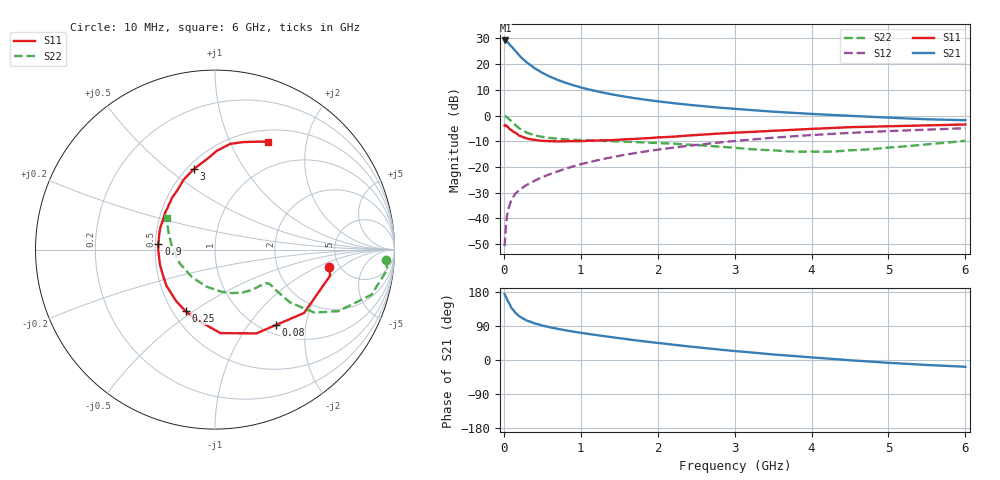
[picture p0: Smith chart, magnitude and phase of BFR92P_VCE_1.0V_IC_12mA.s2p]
! Infineon Technologies  Discrete & RF Semiconductors
! BFR92P
! VCE =  1.0 V,  IC =  12 mA
! Common Emitter S-Parameters:  Apr 2014
# GHz  S  MA  R  50
!  f  S11  S21  S12  S22
! GHz  MAG  ANG  MAG  ANG  MAG  ANG  MAG  ANG
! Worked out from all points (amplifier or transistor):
!   77 points, 10 MHz to 6 GHz, reference 50 ohm
!   highest |S21| = 29.2 dB at 20 MHz (marker M1)
!   |S21| within 3 dB of that: start of sweep to 118.7 MHz
!   unconditionally stable (mu >= 1): 529.7 MHz to 3.007 GHz
!   at 130 MHz: K = 0.47, MSG = 28.5 dB, |S12| = -31.2 dB
!   at 2.2 GHz: K = 1.06, MAG = 7.2 dB, |S12| = -12.5 dB
!   at 6 GHz: K = 0.93, MSG = 1.6 dB, |S12| = -4.9 dB
!   S11 on the Smith chart (normalised r, x): 10 MHz: 4.12, -1.36; 80 MHz: 1.15, -1.37; 250 MHz: 0.58, -0.47; 900 MHz: 0.52, +0.04; 3 GHz: 0.54, +0.62; 6 GHz: 0.64, +1.40
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0.01  0.6423 -8.7  28.39 173.6  0.0029 84.4  0.9561 -3.4
0.02  0.6581 -12.7  28.72 170.0  0.0051 82.3  0.9658 -6.7
0.05  0.609 -35.4  26.76 155.9  0.0137 76.9  0.9074 -16.1
0.08  0.5395 -51.3  23.51 145.5  0.0192 67.8  0.8197 -22.0
0.1  0.5208 -63.7  21.88 137.0  0.023 64.2  0.7669 -26.6
0.15  0.4664 -86.2  18.04 124.7  0.0303 61.9  0.6541 -32.4
0.2  0.4072 -103.1  14.74 115.4  0.0353 60.0  0.5648 -34.0
0.25  0.3807 -115.5  12.44 109.4  0.0404 61.0  0.5096 -35.1
0.3  0.3593 -127.1  10.68 103.9  0.045 61.2  0.4638 -34.6
0.4  0.3371 -143.6  8.295 96.6  0.0541 62.7  0.4126 -33.8
0.5  0.3224 -154.8  6.752 91.0  0.0635 64.3  0.3852 -32.9
0.6  0.3178 -164.5  5.688 86.3  0.0727 65.2  0.3662 -32.4
0.7  0.3144 -172.2  4.922 82.2  0.0823 65.9  0.3543 -32.2
0.9  0.3174 174.1  3.889 75.0  0.1027 66.3  0.3381 -33.8
1.1  0.3226 164.3  3.221 68.8  0.1235 65.8  0.3294 -36.0
1.5  0.3388 146.9  2.43 57.6  0.1652 63.3  0.3137 -42.5
2.1  0.3813 126.5  1.814 42.8  0.2273 57.6  0.288 -55.1
3  0.4647 104.5  1.35 23.6  0.3196 47.7  0.2371 -81.6
3.1  0.4718 102.5  1.315 22.0  0.3295 46.2  0.2295 -85.5
4.1  0.5583 87.5  1.057 5.4  0.426 33.6  0.1981 -136.2
5.1  0.6236 74.0  0.897 -8.6  0.5047 20.2  0.2445 173.1
6  0.6705 63.8  0.812 -17.9  0.5679 8.5  0.3223 146.8
